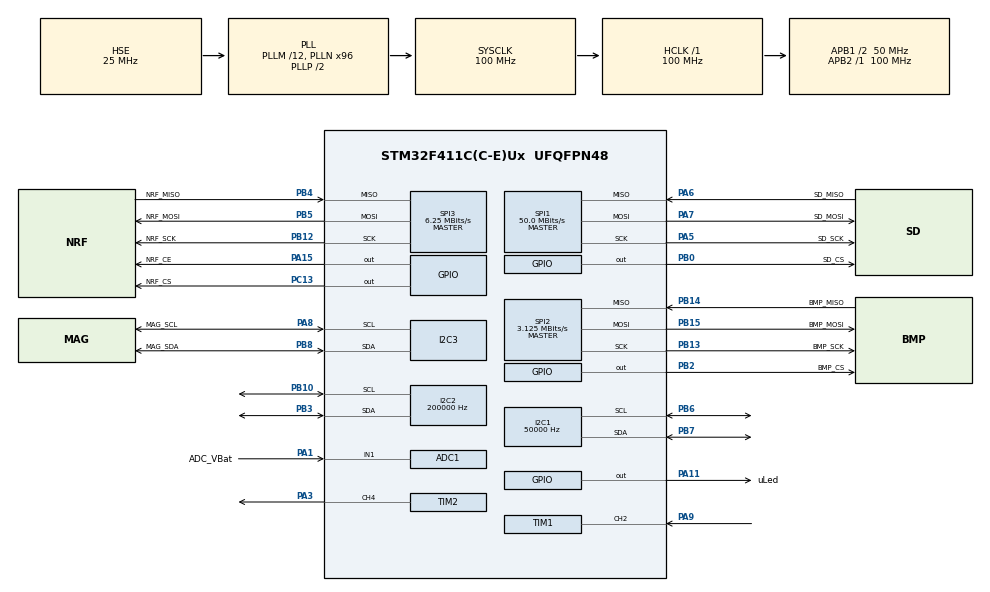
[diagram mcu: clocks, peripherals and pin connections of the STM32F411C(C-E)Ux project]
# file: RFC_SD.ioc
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ADC1.Channel-0\#ChannelRegularConversion=ADC_CHANNEL_1
ADC1.NbrOfConversionFlag=1
ADC1.Rank-0\#ChannelRegularConversion=1
ADC1.SamplingTime-0\#ChannelRegularConversion=ADC_SAMPLETIME_3CYCLES
ADC1.master=1
Dma.Request0=SPI2_RX
Dma.Request1=SPI3_RX
Dma.Request2=SPI3_TX
Dma.SPI2_RX.0.Direction=DMA_PERIPH_TO_MEMORY
Dma.SPI2_RX.0.FIFOMode=DMA_FIFOMODE_DISABLE
Dma.SPI2_RX.0.Instance=DMA1_Stream3
Dma.SPI2_RX.0.MemDataAlignment=DMA_MDATAALIGN_BYTE
Dma.SPI2_RX.0.MemInc=DMA_MINC_ENABLE
Dma.SPI2_RX.0.Mode=DMA_NORMAL
Dma.SPI2_RX.0.PeriphDataAlignment=DMA_PDATAALIGN_BYTE
Dma.SPI2_RX.0.PeriphInc=DMA_PINC_DISABLE
Dma.SPI2_RX.0.Priority=DMA_PRIORITY_LOW
Dma.SPI3_RX.1.Direction=DMA_PERIPH_TO_MEMORY
Dma.SPI3_RX.1.FIFOMode=DMA_FIFOMODE_DISABLE
Dma.SPI3_RX.1.Instance=DMA1_Stream0
Dma.SPI3_RX.1.MemDataAlignment=DMA_MDATAALIGN_BYTE
Dma.SPI3_RX.1.MemInc=DMA_MINC_ENABLE
Dma.SPI3_RX.1.Mode=DMA_NORMAL
Dma.SPI3_RX.1.PeriphDataAlignment=DMA_PDATAALIGN_BYTE
Dma.SPI3_RX.1.PeriphInc=DMA_PINC_DISABLE
Dma.SPI3_RX.1.Priority=DMA_PRIORITY_HIGH
Dma.SPI3_TX.2.Direction=DMA_MEMORY_TO_PERIPH
Dma.SPI3_TX.2.FIFOMode=DMA_FIFOMODE_DISABLE
Dma.SPI3_TX.2.Instance=DMA1_Stream5
Dma.SPI3_TX.2.MemDataAlignment=DMA_MDATAALIGN_BYTE
Dma.SPI3_TX.2.MemInc=DMA_MINC_ENABLE
Dma.SPI3_TX.2.Mode=DMA_NORMAL
Dma.SPI3_TX.2.PeriphDataAlignment=DMA_PDATAALIGN_BYTE
Dma.SPI3_TX.2.PeriphInc=DMA_PINC_DISABLE
Dma.SPI3_TX.2.Priority=DMA_PRIORITY_HIGH
FATFS._FS_RPATH=1
I2C1.ClockSpeed=50000
I2C1.I2C_Mode=I2C_Standard
I2C2.ClockSpeed=200000
I2C2.I2C_Mode=I2C_Fast
Mcu.Family=STM32F4
Mcu.Name=STM32F411C(C-E)Ux
Mcu.Package=UFQFPN48
NVIC.DMA1_Stream0_IRQn=true\:3\:0\:true\:false\:true\:false\:true\:true
NVIC.DMA1_Stream3_IRQn=true\:3\:0\:true\:false\:true\:false\:true\:true
NVIC.DMA1_Stream5_IRQn=true\:3\:0\:true\:false\:true\:false\:true\:true
NVIC.PriorityGroup=NVIC_PRIORITYGROUP_4
NVIC.SPI2_IRQn=true\:0\:0\:false\:false\:true\:true\:true\:true
NVIC.TIM1_CC_IRQn=true\:0\:0\:false\:false\:true\:true\:true\:true
NVIC.TIM5_IRQn=true\:0\:0\:false\:false\:true\:true\:true\:true
PA1.GPIO_Label=ADC_VBat
PA1.Signal=ADCx_IN1
PA11.GPIO_Label=uLed
PA11.Signal=GPIO_Output
PA13.Mode=Serial_Wire
PA13.Signal=SYS_JTMS-SWDIO
PA14.Mode=Serial_Wire
PA14.Signal=SYS_JTCK-SWCLK
PA15.GPIO_Label=NRF_CE
PA15.GPIO_Speed=GPIO_SPEED_FREQ_HIGH
PA15.Signal=GPIO_Output
PA3.Signal=S_TIM2_CH4
PA5.GPIO_Label=SD_SCK
PA5.Mode=Full_Duplex_Master
PA5.Signal=SPI1_SCK
PA6.GPIO_Label=SD_MISO
PA6.Mode=Full_Duplex_Master
PA6.Signal=SPI1_MISO
PA7.GPIO_Label=SD_MOSI
PA7.Mode=Full_Duplex_Master
PA7.Signal=SPI1_MOSI
PA8.GPIO_Label=MAG_SCL
PA8.Mode=I2C
PA8.Signal=I2C3_SCL
PA9.Signal=S_TIM1_CH2
PB0.GPIO_Label=SD_CS
PB0.Signal=GPIO_Output
PB10.GPIO_Mode=GPIO_MODE_AF_OD
PB10.GPIO_Pu=GPIO_NOPULL
PB10.GPIO_Speed=GPIO_SPEED_FREQ_VERY_HIGH
PB10.Mode=I2C
PB10.Signal=I2C2_SCL
PB12.GPIO_Label=NRF_SCK
PB12.Mode=Full_Duplex_Master
PB12.Signal=SPI3_SCK
PB13.GPIO_Label=BMP_SCK
PB13.Mode=Full_Duplex_Master
PB13.Signal=SPI2_SCK
PB14.GPIO_Label=BMP_MISO
PB14.Mode=Full_Duplex_Master
PB14.Signal=SPI2_MISO
PB15.GPIO_Label=BMP_MOSI
PB15.Mode=Full_Duplex_Master
PB15.Signal=SPI2_MOSI
PB2.GPIO_Label=BMP_CS
PB2.Signal=GPIO_Output
PB3.GPIO_Mode=GPIO_MODE_AF_OD
PB3.GPIO_Pu=GPIO_NOPULL
PB3.GPIO_Speed=GPIO_SPEED_FREQ_VERY_HIGH
PB3.Mode=I2C
PB3.Signal=I2C2_SDA
PB4.GPIO_Label=NRF_MISO
PB4.Mode=Full_Duplex_Master
PB4.Signal=SPI3_MISO
PB5.GPIO_Label=NRF_MOSI
PB5.Mode=Full_Duplex_Master
PB5.Signal=SPI3_MOSI
PB6.GPIO_Mode=GPIO_MODE_AF_OD
PB6.GPIO_Pu=GPIO_NOPULL
PB6.GPIO_Speed=GPIO_SPEED_FREQ_VERY_HIGH
PB6.Mode=I2C
PB6.Signal=I2C1_SCL
PB7.GPIO_Mode=GPIO_MODE_AF_OD
PB7.GPIO_Pu=GPIO_NOPULL
PB7.GPIO_Speed=GPIO_SPEED_FREQ_VERY_HIGH
PB7.Mode=I2C
PB7.Signal=I2C1_SDA
PB8.GPIO_Label=MAG_SDA
PB8.Mode=I2C
PB8.Signal=I2C3_SDA
PC13-ANTI_TAMP.GPIO_Label=NRF_CS
PC13-ANTI_TAMP.Signal=GPIO_Output
PH0\ -\ OSC_IN.Mode=HSE-External-Oscillator
PH0\ -\ OSC_IN.Signal=RCC_OSC_IN
PH1\ -\ OSC_OUT.Mode=HSE-External-Oscillator
PH1\ -\ OSC_OUT.Signal=RCC_OSC_OUT
ProjectManager.HeapSize=0x200
ProjectManager.StackSize=0x400
ProjectManager.TargetToolchain=STM32CubeIDE
RCC.48MHZClocksFreq_Value=50000000
RCC.AHBFreq_Value=100000000
RCC.APB1CLKDivider=RCC_HCLK_DIV2
RCC.APB1Freq_Value=50000000
RCC.APB1TimFreq_Value=100000000
RCC.APB2Freq_Value=100000000
RCC.APB2TimFreq_Value=100000000
RCC.CortexFreq_Value=100000000
RCC.HCLKFreq_Value=100000000
RCC.HSE_VALUE=25000000
RCC.HSI_VALUE=16000000
RCC.LSE_VALUE=32768
RCC.PLLM=12
RCC.PLLN=96
RCC.PLLSourceVirtual=RCC_PLLSOURCE_HSE
RCC.SYSCLKFreq_VALUE=100000000
RCC.SYSCLKSource=RCC_SYSCLKSOURCE_PLLCLK
RCC.VCOOutputFreq_Value=200000000
SH.ADCx_IN1.0=ADC1_IN1,IN1
SH.S_TIM1_CH2.0=TIM1_CH2,Input_Capture2_from_TI2
SH.S_TIM2_CH4.0=TIM2_CH4,PWM Generation4 CH4
SPI1.CalculateBaudRate=50.0 MBits/s
SPI1.Direction=SPI_DIRECTION_2LINES
SPI1.Mode=SPI_MODE_MASTER
SPI1.VirtualType=VM_MASTER
SPI2.BaudRatePrescaler=SPI_BAUDRATEPRESCALER_16
SPI2.CalculateBaudRate=3.125 MBits/s
SPI2.Direction=SPI_DIRECTION_2LINES
SPI2.Mode=SPI_MODE_MASTER
SPI2.VirtualType=VM_MASTER
SPI3.BaudRatePrescaler=SPI_BAUDRATEPRESCALER_8
SPI3.CalculateBaudRate=6.25 MBits/s
SPI3.Direction=SPI_DIRECTION_2LINES
SPI3.Mode=SPI_MODE_MASTER
SPI3.VirtualType=VM_MASTER
TIM1.AutoReloadPreload=TIM_AUTORELOAD_PRELOAD_ENABLE
TIM1.Channel-Input_Capture2_from_TI2=TIM_CHANNEL_2
TIM1.ICFilter_CH2=8
TIM1.ICPolarity_CH2=TIM_INPUTCHANNELPOLARITY_BOTHEDGE
TIM1.Prescaler=100-1
TIM2.AutoReloadPreload=TIM_AUTORELOAD_PRELOAD_ENABLE
TIM2.Channel-PWM\ Generation4\ CH4=TIM_CHANNEL_4
TIM2.Period=7000
TIM2.Prescaler=100-1
TIM5.Period=1000-1
TIM5.Prescaler=1000-1
VP_FATFS_VS_Generic.Mode=User_defined
VP_TIM2_VS_ClockSourceINT.Mode=Internal
VP_TIM5_VS_ClockSourceINT.Mode=Internal
board=custom

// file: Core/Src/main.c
/* USER CODE BEGIN Header */
/**
  ******************************************************************************
  * @file           : main.c
  * @brief          : Main program body
  ******************************************************************************
  * @attention
  *
  * Copyright (c) 2024 STMicroelectronics.
  * All rights reserved.
  *
  * This software is licensed under terms that can be found in the LICENSE file
  * in the root directory of this software component.
  * If no LICENSE file comes with this software, it is provided AS-IS.
  *
  ******************************************************************************
  */
/* USER CODE END Header */
#include "main.h"
#include "adc.h"
#include "dma.h"
#include "fatfs.h"
#include "i2c.h"
#include "spi.h"
#include "tim.h"
#include "gpio.h"

/* USER CODE BEGIN Includes */
#include "Libraries/MPU6050.h"
#include "Libraries/BMP280.h"
#include "Modules/Telemetry/payload.h"
#include "Modules/Status/status.h"
#include "Modules/INS/attitude.h"
#include "Modules/BlackBox/BlackBox.h"
#include "Modules/Status/memory.h"
/* USER CODE END Includes */

void SystemClock_Config(void);

/* USER CODE BEGIN 0 */
uint8_t test = 0;
uint32_t channel_1_past;
channel_validation_t channel_1_validation = {0};
/* USER CODE END 0 */

int main(void)
{

  /* MCU Configuration--------------------------------------------------------*/

  /* Reset of all peripherals, Initializes the Flash interface and the Systick. */
  HAL_Init();

  /* Configure the system clock */
  SystemClock_Config();

  /* Initialize all configured peripherals */
  MX_GPIO_Init();
  MX_DMA_Init();
  MX_ADC1_Init();
  MX_I2C1_Init();
  MX_I2C2_Init();
  MX_I2C3_Init();
  MX_SPI1_Init();
  MX_SPI2_Init();
  MX_SPI3_Init();
  MX_TIM2_Init();
  MX_FATFS_Init();
  MX_TIM5_Init();
  MX_TIM1_Init();
  /* USER CODE BEGIN 2 */
  MEMORY_init();
  BLACKBOX_Init();
  MPU6050_Init();
  BMP280_init();

  TIM2->CCR4 = 1500;

  HAL_TIM_PWM_Start(&htim2, TIM_CHANNEL_4);

  HAL_TIM_IC_Start_IT(&htim1, TIM_CHANNEL_2);
  /* USER CODE END 2 */

  /* Infinite loop */
  while (1)
  {

    /* USER CODE BEGIN 3 */
		get_ACC();
		get_STATUS();
		BMP280_calculate();
		get_ATTS(&MPU6050);
		DeployParachute();
		if(test){
			MPU6050_calibration();
			test=0;
		}
		Emergency_actions();
  }
  /* USER CODE END 3 */
}

void SystemClock_Config(void)
{
  RCC_OscInitTypeDef RCC_OscInitStruct = {0};
  RCC_ClkInitTypeDef RCC_ClkInitStruct = {0};

  /** Configure the main internal regulator output voltage
  */
  __HAL_RCC_PWR_CLK_ENABLE();
  __HAL_PWR_VOLTAGESCALING_CONFIG(PWR_REGULATOR_VOLTAGE_SCALE1);

  /** Initializes the RCC Oscillators according to the specified parameters
  * in the RCC_OscInitTypeDef structure.
  */
  RCC_OscInitStruct.OscillatorType = RCC_OSCILLATORTYPE_HSE;
  RCC_OscInitStruct.HSEState = RCC_HSE_ON;
  RCC_OscInitStruct.PLL.PLLState = RCC_PLL_ON;
  RCC_OscInitStruct.PLL.PLLSource = RCC_PLLSOURCE_HSE;
  RCC_OscInitStruct.PLL.PLLM = 12;
  RCC_OscInitStruct.PLL.PLLN = 96;
  RCC_OscInitStruct.PLL.PLLP = RCC_PLLP_DIV2;
  RCC_OscInitStruct.PLL.PLLQ = 4;
  if (HAL_RCC_OscConfig(&RCC_OscInitStruct) != HAL_OK)
  {
    Error_Handler();
  }

  /** Initializes the CPU, AHB and APB buses clocks
  */
  RCC_ClkInitStruct.ClockType = RCC_CLOCKTYPE_HCLK|RCC_CLOCKTYPE_SYSCLK
                              |RCC_CLOCKTYPE_PCLK1|RCC_CLOCKTYPE_PCLK2;
  RCC_ClkInitStruct.SYSCLKSource = RCC_SYSCLKSOURCE_PLLCLK;
  RCC_ClkInitStruct.AHBCLKDivider = RCC_SYSCLK_DIV1;
  RCC_ClkInitStruct.APB1CLKDivider = RCC_HCLK_DIV2;
  RCC_ClkInitStruct.APB2CLKDivider = RCC_HCLK_DIV1;

  if (HAL_RCC_ClockConfig(&RCC_ClkInitStruct, FLASH_LATENCY_3) != HAL_OK)
  {
    Error_Handler();
  }
}

/* USER CODE BEGIN 4 */

void PWM_Process_Input(TIM_HandleTypeDef* htim, uint32_t channel, channel_validation_t* channel_validation, uint32_t* radio_pwm_channel)
{
	// Se almacena el valor pasado
    channel_validation->time_pass = channel_validation->time_pass2;
    // Se captura el nuevo valor
    channel_validation->time_pass2 = HAL_TIM_ReadCapturedValue(htim, channel);
    // Si el valor pasado es mayor al nuevo
    if (channel_validation->time_pass > channel_validation->time_pass2)
    {
    	//Se obtiene el valor restando al mayor el menor
        channel_validation->valid = channel_validation->time_pass - channel_validation->time_pass2;

        if(channel_validation->valid >= 800 && channel_validation->valid <= 2100)
        {
            *radio_pwm_channel = channel_validation->valid;
        }
        else if(channel_validation->valid >= 2100)
        {
        	//*radio_pwm_channel = MAX_RADIO_PWM_VALUE - channel_validation->valid;
        }

    }
    //Si valor nuevo es mayor al pasado
    else if (channel_validation->time_pass < channel_validation->time_pass2)
    {
        channel_validation->valid = channel_validation->time_pass2 - channel_validation->time_pass;
        if (channel_validation->valid >= 800 && channel_validation->valid <= 2100)
        {
            *radio_pwm_channel = channel_validation->time_pass2 - channel_validation->time_pass;
        }
        else if (channel_validation->valid >= 2100)
        {
            //*radio_pwm_channel = MAX_RADIO_PWM_VALUE - channel_validation->valid;
        }
    }
}

void HAL_TIM_IC_CaptureCallback(TIM_HandleTypeDef *htim)
{

	if (htim->Channel == HAL_TIM_ACTIVE_CHANNEL_2)  // If the interrupt is triggered by channel 1
	{
		// Read the IC value
		PWM_Process_Input(htim, TIM_CHANNEL_2, &channel_1_validation, &channel_1_past);
	}
}

void HAL_TIM_PeriodElapsedCallback(TIM_HandleTypeDef* htim)
{
	BLACKBOX_StoreData();
}
/* USER CODE END 4 */

void Error_Handler(void)
{
  __disable_irq();
  while (1)
  {
  }
}
